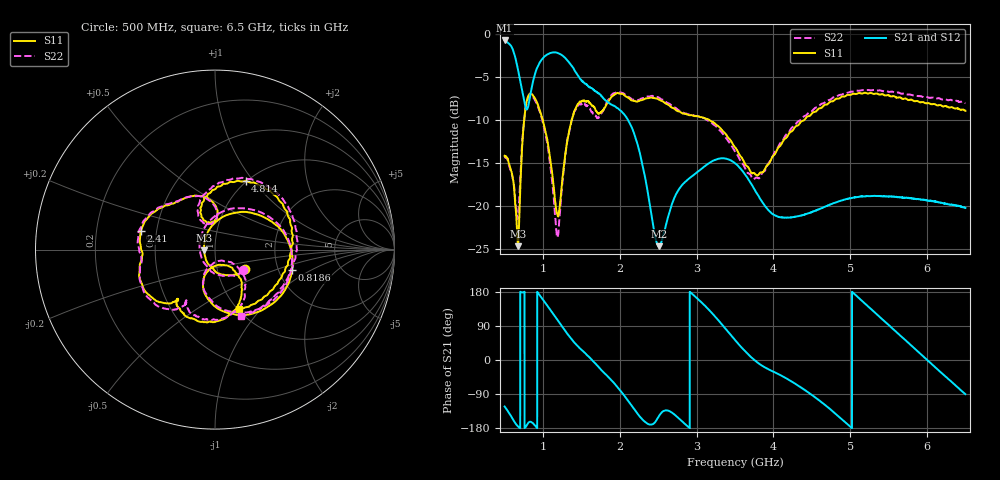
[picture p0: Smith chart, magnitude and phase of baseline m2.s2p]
# Hz S DB R 50
! CMT, S5065, 24347010, 24.3.4/3
! Date: 10/15/2024 11:18:30 AM
! Data: Format (Calibration Info)
! Freq	S11:dB/Ang(F2)	S21:dB/Ang(F2)	S12:dB/Ang(F2)	S22:dB/Ang(F2)
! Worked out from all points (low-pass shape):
!   10001 points, 500 MHz to 6.5 GHz, reference 50 ohm
!   highest |S21| = -0.78 dB at 500 MHz (marker M1); lowest = -24.6 dB at 2.506 GHz (marker M2)
!   |S21| within 3 dB of the highest: start of sweep to 665.4 MHz; 931.4 MHz to 1.378 GHz (446.7 MHz wide, 38.7 % of centre)
!   lowest |S11| = -24.6 dB at 674.6 MHz (marker M3), VSWR 1.12, Z = 44.5 - j0.308 ohm
!   |S11| at or under -10 dB: start of sweep to 754.3 MHz; 997.3 MHz to 1.374 GHz (376.7 MHz wide, 31.8 % of centre); 3.166 GHz to 4.403 GHz (1.237 GHz wide, 32.7 % of centre)
!   |S22| runs from -23.6 to -6.5 dB; largest |S21 - S12| = 0.0022
!   S11 on the Smith chart (normalised r, x): 500 MHz: 1.36, -0.30; 818.6 MHz: 2.38, -0.67; 2.41 GHz: 0.41, +0.10; 4.814 GHz: 0.99, +0.92; 6.5 GHz: 1.01, -0.77
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5e8  -14.14 -33.0  -0.78 -122.7  -0.78 -122.7  -14.21 -35.9
5.978e8  -16.32 -68.5  -1.65 -152.9  -1.65 -152.8  -16.42 -74.7
6.746e8  -24.62 -176.6  -4.16 -175.4  -4.16 -175.4  -21.38 178.4
7.448e8  -10.91 46.3  -7.39 178.5  -7.40 178.5  -10.80 52.5
8.186e8  -7.04 -14.7  -7.92 -163.8  -7.91 -163.8  -7.22 -11.0
8.984e8  -7.56 -56.9  -4.58 -173.3  -4.58 -173.3  -7.76 -54.5
1.0004e9  -10.11 -91.3  -2.83 159.0  -2.82 159.0  -10.38 -90.7
1.1864e9  -20.95 -86.0  -2.21 106.0  -2.21 106.1  -23.56 -77.6
1.325e9  -12.01 -53.7  -3.20 67.1  -3.20 67.1  -11.90 -48.0
1.5002e9  -7.82 -95.6  -5.40 27.1  -5.39 27.1  -8.11 -92.7
1.961e9  -6.88 -148.8  -8.59 -69.2  -8.58 -69.3  -6.73 -145.0
2.186e9  -7.79 -174.7  -11.56 -129.8  -11.56 -129.9  -7.65 -171.7
2.4104e9  -7.40 166.1  -20.88 -170.4  -20.89 -170.6  -7.22 168.1
2.5004e9  -7.60 156.3  -24.59 -151.4  -24.60 -151.8  -7.36 157.8
2.5064e9  -7.63 155.6  -24.62 -149.4  -24.63 -149.7  -7.39 157.2
2.8274e9  -9.27 131.1  -17.37 -164.9  -17.38 -165.2  -9.15 131.2
3.5e9  -13.15 86.5  -15.01 52.8  -15.02 52.5  -13.65 86.8
3.8096e9  -16.31 100.6  -18.84 -9.2  -18.87 -9.4  -16.76 106.2
4.5002e9  -9.26 88.6  -20.66 -92.2  -20.68 -92.8  -8.97 90.1
4.814e9  -7.55 66.1  -19.55 -142.5  -19.56 -142.9  -7.33 66.6
5.5004e9  -7.13 9.8  -18.87 92.3  -18.90 92.0  -6.73 9.6
6.5e9  -8.93 -68.6  -20.17 -90.2  -20.19 -89.6  -8.03 -68.8
